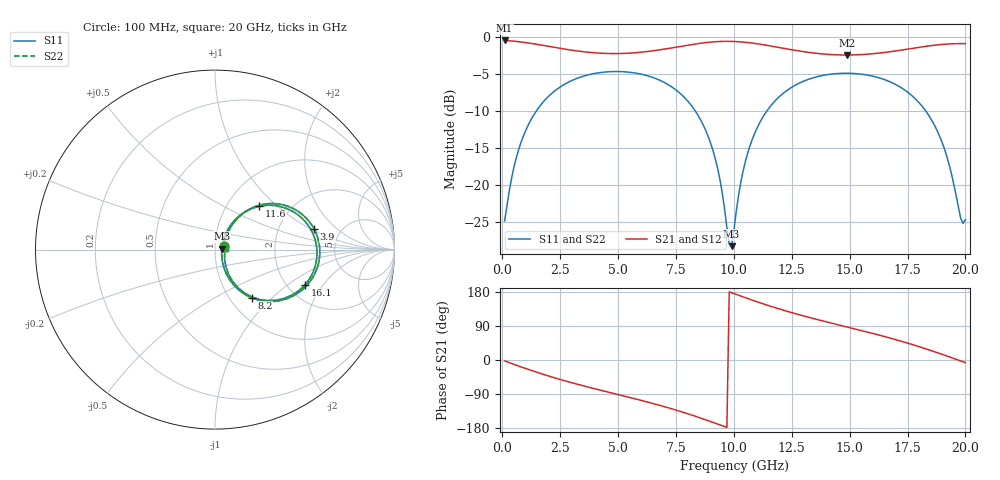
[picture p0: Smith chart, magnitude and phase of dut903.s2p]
! Touchstone file exported from HFSS 2026.1.0
!  File:  C:/ffzhzh/LocalFiles/Ansys_Project_Files/temp_train_TSV_RDL_903_1783276719_30076.aedt
!  Generated:  02:54:02 AM Jul  6, 2026
!  Design:  TSV_RDL
!  Project:  temp_train_TSV_RDL_903_1783276719_30076
! Variables:
!  h_bsmrdl = 2.46um
!  h_ox = 20um
!  h_rdl = 5um
!  h_sub = 67.91um
!  h_tmrdl = 2.64um
!  h_tsv = 67.91um
!  h_via = 3um
!  l_bsmrdl = 674.2um
!  l_sub = 6371.95um
!  l_tmrdl = 963.72um
!  m_sub = 200um
!  pitch = 39.76um
!  r_tsv = 4.29um
!  s_tmrdl = 10um
!  w_bsmrdl = 12.92um
!  w_sub = 500um
!  w_tmrdl = 18.57um
!  x_tsv_center1 = 973.005um
!  x_tsv_center2 = 1660.125um
!  x_tsv_center3 = 2642.415um
!  x_tsv_center4 = 3329.535um
!  x_tsv_center5 = 4311.825um
!  x_tsv_center6 = 4998.945um
# GHz S MA R 50.000000
! Terminal data exported
! Port[1] = TM_RDL1_1_T1
! Port[2] = TM_RDL5_1_T1
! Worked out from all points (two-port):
!   200 points, 100 MHz to 20 GHz, reference 50 ohm
!   highest |S21| = -0.46 dB at 100 MHz (marker M1); lowest = -2.4 dB at 14.9 GHz (marker M2)
!   |S21| within 3 dB of the highest: start of sweep to end of sweep
!   lowest |S11| = -28.3 dB at 9.9 GHz (marker M3), VSWR 1.08, Z = 53.9 + j0.657 ohm
!   |S11| at or under -10 dB: start of sweep to 1.474 GHz; 8.33 GHz to 11.43 GHz (3.101 GHz wide, 31.4 % of centre); 18.28 GHz to end of sweep
!   |S22| runs from -28.1 to -4.7 dB; largest |S21 - S12| = 2.2e-14
!   S11 on the Smith chart (normalised r, x): 100 MHz: 1.11, +0.05; 3.9 GHz: 3.18, +1.08; 8.2 GHz: 1.26, -0.76; 11.6 GHz: 1.40, +0.77; 16.1 GHz: 2.49, -1.36; 20 GHz: 1.12, +0.03
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0.1  0.05669 23.7  0.9488 -2.4  0.9488 -2.4  0.05669 23.7
! Gamma 0 0 0 0
! Port Impedance 50 0 50 0
0.6  0.1512 54.9  0.9348 -13.7  0.9348 -13.7  0.1512 54.9
1.2  0.2681 51.5  0.9086 -26.4  0.9086 -26.4  0.2681 51.5
3.5  0.5433 17.7  0.7958 -68.2  0.7958 -68.2  0.5433 17.7
3.9  0.5634 11.9  0.7843 -74.5  0.7843 -74.5  0.5633 11.9
5.3  0.5813 -7.8  0.7756 -95.7  0.7756 -95.7  0.5813 -7.8
6.8  0.5101 -29.9  0.8195 -119.6  0.8195 -119.6  0.51 -29.8
8.2  0.3381 -52.7  0.8913 -145.6  0.8913 -145.6  0.3381 -52.6
9.1  0.17 -64.7  0.9277 -164.6  0.9277 -164.6  0.1701 -64.4
9.8  0.03947 -21.9  0.9359 179.8  0.9359 179.8  0.04033 -21.3
9.9  0.03829 9.1  0.9352 177.6  0.9352 177.6  0.03921 8.9
10.1  0.06495 46.2  0.9326 173.1  0.9326 173.1  0.06554 45.6
10.7  0.1841 56.9  0.9148 160.0  0.9148 160.0  0.1843 56.6
11.6  0.343 44.6  0.8697 141.6  0.8697 141.6  0.3431 44.5
13.4  0.5283 16.7  0.7817 110.0  0.7817 110.0  0.5283 16.7
14.9  0.5688 -4.4  0.7562 87.0  0.7562 87.0  0.5688 -4.4
16.1  0.5387 -21.2  0.7737 68.5  0.7737 68.5  0.5386 -21.1
16.7  0.5012 -29.9  0.7938 58.7  0.7938 58.7  0.5012 -29.9
18.6  0.264 -57.8  0.8787 23.2  0.8787 23.2  0.2641 -57.6
19.2  0.155 -61.2  0.8972 10.6  0.8972 10.6  0.1553 -60.7
19.8  0.05886 -26.2  0.9036 -2.5  0.9036 -2.5  0.06008 -25.6
20  0.05801 11.3  0.9027 -6.9  0.9027 -6.9  0.05938 11.0
